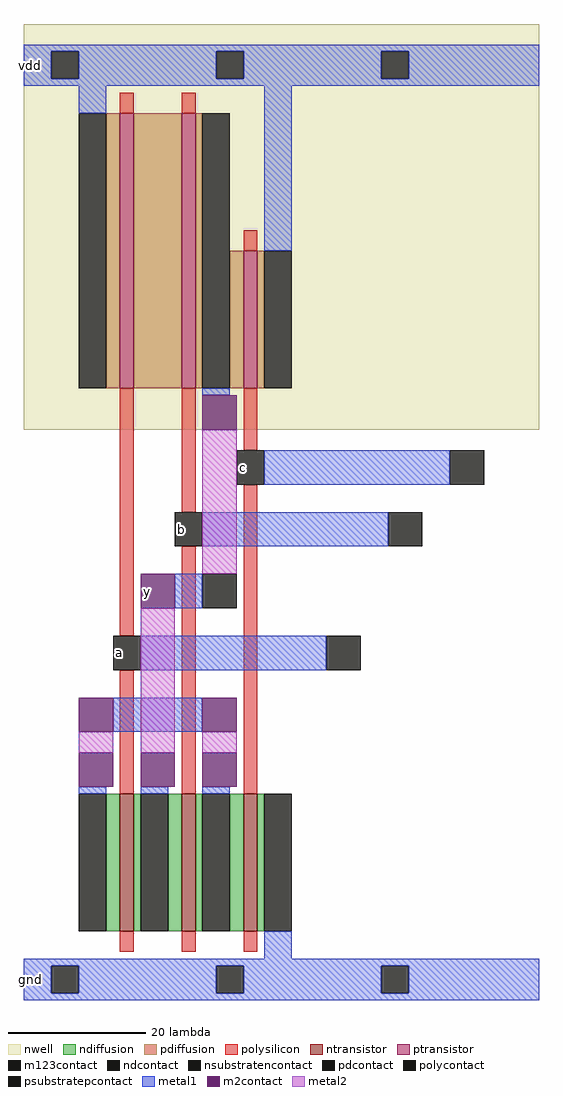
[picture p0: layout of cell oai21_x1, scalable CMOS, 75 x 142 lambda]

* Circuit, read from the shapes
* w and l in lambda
.subckt oai21_x1 a b c y vdd gnd
M1 y a n1 gnd nfet w=20 l=2
M2 n1 b y gnd nfet w=20 l=2
M3 gnd c n1 gnd nfet w=20 l=2
M4 n2 a vdd vdd pfet w=40 l=2
M5 y b n2 vdd pfet w=40 l=2
M6 vdd c y vdd pfet w=20 l=2
.ends

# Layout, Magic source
magic
tech scmos
<< nwell >>
rect 0 83 75 142
<< ntransistor >>
rect 14 10 16 30
rect 23 10 25 30
rect 32 10 34 30
<< ptransistor >>
rect 14 89 16 129
rect 23 89 25 129
rect 32 89 34 109
<< ndiffusion >>
rect 12 10 14 30
rect 16 10 17 30
rect 21 10 23 30
rect 25 10 26 30
rect 30 10 32 30
rect 34 10 35 30
<< pdiffusion >>
rect 12 89 14 129
rect 16 89 23 129
rect 25 89 26 129
rect 30 89 32 109
rect 34 89 35 109
<< ndcontact >>
rect 8 10 12 30
rect 17 10 21 30
rect 26 10 30 30
rect 35 10 39 30
<< pdcontact >>
rect 8 89 12 129
rect 26 89 30 129
rect 35 89 39 109
<< psubstratepcontact >>
rect 4 1 8 5
rect 28 1 32 5
rect 52 1 56 5
<< nsubstratencontact >>
rect 4 134 8 138
rect 28 134 32 138
rect 52 134 56 138
<< polysilicon >>
rect 14 129 16 132
rect 23 129 25 132
rect 32 109 34 112
rect 14 53 16 89
rect 23 71 25 89
rect 32 80 34 89
rect 14 30 16 48
rect 23 30 25 66
rect 32 30 34 75
rect 14 7 16 10
rect 23 7 25 10
rect 32 7 34 10
<< polycontact >>
rect 31 75 35 80
rect 22 66 26 71
rect 13 48 17 53
<< metal1 >>
rect 0 138 75 139
rect 0 134 4 138
rect 8 134 28 138
rect 32 134 52 138
rect 56 134 75 138
rect 0 133 75 134
rect 8 129 12 133
rect 35 109 39 133
rect 26 88 30 89
rect 35 75 62 80
rect 26 66 53 71
rect 22 57 26 62
rect 17 48 44 53
rect 13 39 26 44
rect 8 30 12 31
rect 17 30 21 31
rect 26 30 30 31
rect 35 6 39 10
rect 0 5 75 6
rect 0 1 4 5
rect 8 1 28 5
rect 32 1 52 5
rect 56 1 75 5
rect 0 0 75 1
<< m2contact >>
rect 26 83 31 88
rect 17 57 22 62
rect 8 39 13 44
rect 26 39 31 44
rect 8 31 13 36
rect 17 31 22 36
rect 26 31 31 36
<< metal2 >>
rect 26 62 31 83
rect 8 36 13 39
rect 17 36 22 57
rect 26 36 31 39
<< m123contact >>
rect 62 75 67 80
rect 53 66 58 71
rect 26 57 31 62
rect 44 48 49 53
<< labels >>
rlabel metal1 13 48 15 53 0 a
port 1 nsew
rlabel metal1 22 66 24 71 0 b
port 2 nsew
rlabel metal1 31 75 33 80 0 c
port 3 nsew
rlabel m2contact 17 57 19 62 0 y
port 4 nsew
rlabel metal1 0 133 2 139 0 vdd
port 5 nsew
rlabel metal1 0 0 2 6 0 gnd
port 6 nsew
<< end >>
